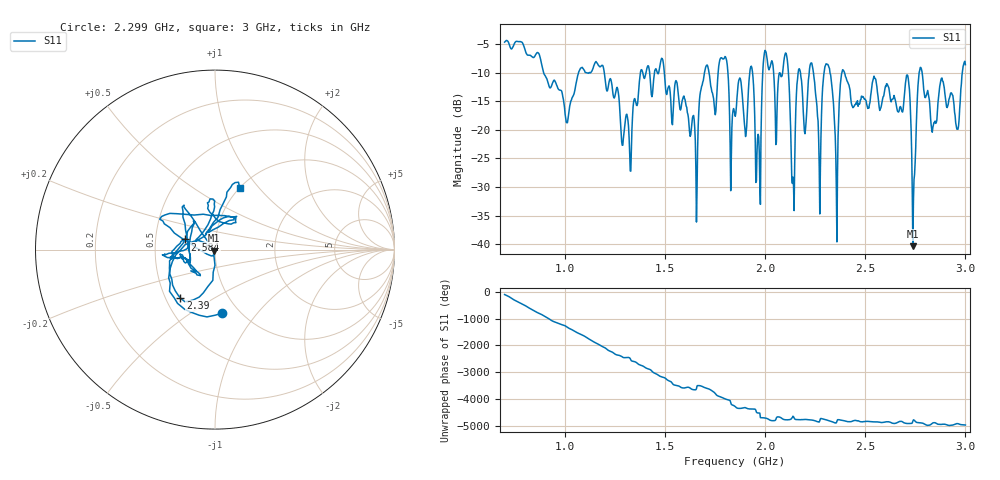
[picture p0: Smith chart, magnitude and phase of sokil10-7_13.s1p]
# HZ S RI R 50
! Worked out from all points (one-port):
!   808 points, 700 MHz to 3 GHz, reference 50 ohm
!   lowest |S11| = -40.3 dB at 2.738 GHz (marker M1), VSWR 1.02, Z = 49.2 - j0.51 ohm
!   |S11| at or under -10 dB: 1.497 GHz to 1.698 GHz (200.5 MHz wide, 12.5 % of centre); 2.396 GHz to 2.769 GHz (372.6 MHz wide, 14.4 % of centre); 2.784 GHz to 2.985 GHz (200.6 MHz wide, 6.96 % of centre)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
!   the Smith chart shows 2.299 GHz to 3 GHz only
!   S11 on the Smith chart (normalised r, x): 2.299 GHz: 0.83, -0.68; 2.39 GHz: 0.59, -0.36; 2.584 GHz: 0.71, +0.08; 3 GHz: 1.00, +0.80
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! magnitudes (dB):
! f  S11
! 700 MHz  -4.7
! 987.9 MHz  -13.7
! 1.159 GHz  -8.2
! 1.276 GHz  -17.1
! 1.564 GHz  -12.6
! 1.655 GHz  -27.0
! 1.706 GHz  -8.8
! 1.851 GHz  -17.6
! 1.931 GHz  -8.9
! 1.965 GHz  -20.8
! 2 GHz  -6.1
! 2.057 GHz  -22.1
! 2.102 GHz  -6.6
! 2.139 GHz  -28.3
! 2.168 GHz  -9.4
! 2.199 GHz  -20.7
! 2.236 GHz  -8.8
! 2.27 GHz  -26.5
! 2.299 GHz  -9.0
! 2.356 GHz  -30.4
! 2.39 GHz  -9.6
! 2.427 GHz  -14.3
! 2.584 GHz  -15.1
! 2.715 GHz  -11.1
! 2.738 GHz  -40.3
! 2.775 GHz  -9.1
! 2.957 GHz  -19.9
! 3 GHz  -8.6
